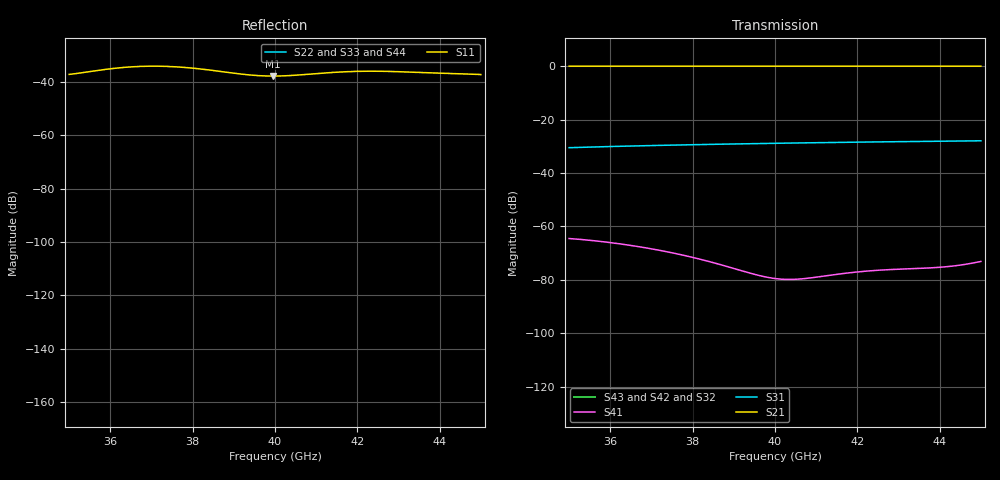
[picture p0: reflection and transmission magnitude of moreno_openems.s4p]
! Moreno cross-guide coupler, openEMS FDTD
! only column 1 (port 1 excited) and, by reciprocity, row 1 are simulated; other entries are zero
! S-parameters are normalised to each port's TE10 wave impedance (generalised
! S-matrix); 'R 50' below is only the placeholder the format requires.
! Reference planes: edges of the common a x a square.
# GHz S MA R 50
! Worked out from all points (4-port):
!   201 points, 35 GHz to 45 GHz, reference 50 ohm
!   strongest paths, dB at 35 GHz, 37.5 GHz, 40 GHz, 42.5 GHz, 45 GHz:
!     S21: 0.0, 0.0, 0.0, 0.0, 0.0
!     S31: -30.5, -29.6, -28.9, -28.4, -27.9
!     S41: -64.5, -69.9, -79.5, -76.4, -73.1
!     S43: -, -, -, -, -
!     S42: -, -, -, -, -
!     S32: -, -, -, -, -
!   lowest |S11| = -37.9 dB at 39.95 GHz (marker M1), VSWR 1.03, Z = 51.3 + j0.303 ohm
!   |S11| at or under -10 dB: start of sweep to end of sweep
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35  0.01374 -142.0  0.9989 -160.1  0.02976 109.9  0.0005925 -74.6
    0.9989 -160.1  0 0.0  0 0.0  0 0.0
    0.02976 109.9  0 0.0  0 0.0  0 0.0
    0.0005925 -74.6  0 0.0  0 0.0  0 0.0
37.1  0.01959 -79.4  0.9998 178.4  0.03276 88.4  0.000368 -122.4
      0.9998 178.4  0 0.0  0 0.0  0 0.0
      0.03276 88.4  0 0.0  0 0.0  0 0.0
      0.000368 -122.4  0 0.0  0 0.0  0 0.0
39.95  0.01279 13.4  0.9992 151.1  0.03592 61.1  0.0001069 129.3
       0.9992 151.1  0 0.0  0 0.0  0 0.0
       0.03592 61.1  0 0.0  0 0.0  0 0.0
       0.0001069 129.3  0 0.0  0 0.0  0 0.0
40.6  0.01344 41.1  0.9994 145.0  0.03654 55.0  0.0001034 88.5
      0.9994 145.0  0 0.0  0 0.0  0 0.0
      0.03654 55.0  0 0.0  0 0.0  0 0.0
      0.0001034 88.5  0 0.0  0 0.0  0 0.0
42.25  0.01577 92.2  0.9996 129.9  0.038 39.9  0.000146 25.6
       0.9996 129.9  0 0.0  0 0.0  0 0.0
       0.038 39.9  0 0.0  0 0.0  0 0.0
       0.000146 25.6  0 0.0  0 0.0  0 0.0
44.1  0.01441 147.5  0.9986 113.4  0.0394 23.3  0.0001739 2.2
      0.9986 113.4  0 0.0  0 0.0  0 0.0
      0.0394 23.3  0 0.0  0 0.0  0 0.0
      0.0001739 2.2  0 0.0  0 0.0  0 0.0
45  0.01365 176.6  0.9987 105.4  0.04006 15.4  0.0002204 -2.7
    0.9987 105.4  0 0.0  0 0.0  0 0.0
    0.04006 15.4  0 0.0  0 0.0  0 0.0
    0.0002204 -2.7  0 0.0  0 0.0  0 0.0
